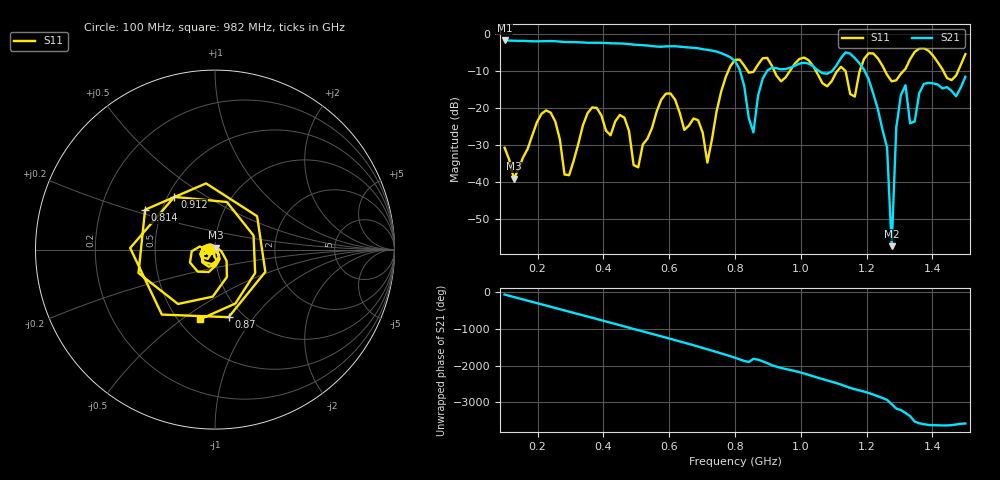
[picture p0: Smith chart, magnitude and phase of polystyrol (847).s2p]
! NanoVNA-App
! Date: 2025-09-25 15:36:28
! Start: 100MHz Stop: 1,5GHz Points: 101
! S-Parameter data: F S11 S21 S12 S22
# Hz S RI R 50
!  Frequency  S11_Real  S11_Imag  S21_Real  S21_Imag  S12_Real  S12_Imag  S22_Real  S22_Imag
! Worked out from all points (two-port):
!   101 points, 100 MHz to 1.5 GHz, reference 50 ohm
!   highest |S21| = -1.80 dB at 100 MHz (marker M1); lowest = -57.3 dB at 1.276 GHz (marker M2)
!   |S21| within 3 dB of the highest: start of sweep to 743 MHz
!   lowest |S11| = -39.1 dB at 128 MHz (marker M3), VSWR 1.02, Z = 50.3 + j1.06 ohm
!   |S11| at or under -10 dB: start of sweep to 779.8 MHz; 1.046 GHz to 1.111 GHz (65.54 MHz wide, 6.08 % of centre); 1.136 GHz to 1.179 GHz (43.55 MHz wide, 3.76 % of centre) (the widest 3 of 7)
!   S12 and S22 are empty: the file has one direction only
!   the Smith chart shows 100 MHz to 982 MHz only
!   S11 on the Smith chart (normalised r, x): 100 MHz: 0.94, -0.01; 814 MHz: 0.40, +0.22; 870 MHz: 0.86, -0.76; 912 MHz: 0.54, +0.37; 982 MHz: 0.64, -0.59
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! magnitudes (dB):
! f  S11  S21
! 100 MHz  -30.7  -1.8
! 128 MHz  -39.1  -1.9
! 212 MHz  -21.6  -2.0
! 282 MHz  -37.9  -2.2
! 338 MHz  -24.7  -2.3
! 506 MHz  -36.0  -3.0
! 576 MHz  -17.8  -3.5
! 716 MHz  -34.7  -4.3
! 800 MHz  -7.0  -7.3
! 814 MHz  -7.0  -9.6
! 856 MHz  -10.3  -26.6
! 870 MHz  -8.3  -16.8
! 912 MHz  -8.6  -9.1
! 982 MHz  -8.0  -8.6
! 1.038 GHz  -8.8  -8.8
! 1.164 GHz  -16.9  -6.6
! 1.206 GHz  -5.3  -12.2
! 1.262 GHz  -11.0  -30.6
! 1.276 GHz  -12.8  -57.3
! 1.29 GHz  -12.5  -25.3
! 1.304 GHz  -10.8  -16.5
! 1.5 GHz  -5.5  -11.6
